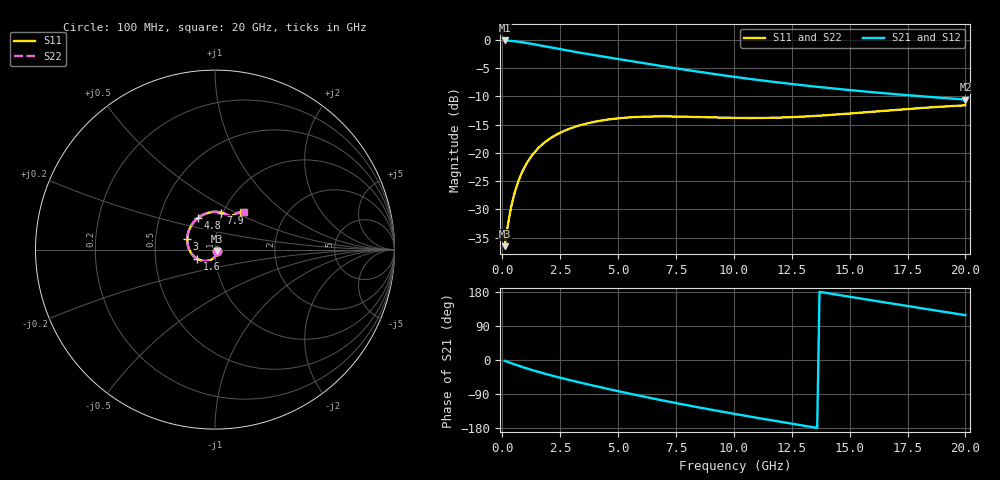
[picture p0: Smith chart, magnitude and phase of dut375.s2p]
! Touchstone file exported from HFSS 2024.1.0
!  File:  C:/UserFiles/LocalFiles/RDL_TSV_Batchsim/temp_RDL_TSV_375_1779643681.aedt
!  Generated:  01:41:42 AM May 25, 2026
!  Design:  RDL_TSV
!  Project:  temp_RDL_TSV_375_1779643681
!  Setup:  Setup1
!  Solution:  Sweep
! Variables:
!  dtsv = 14.25um
!  hbump = 3um
!  htsv = 97.42um
!  ldown = 347.39um
!  lrdl = 549.36um
!  p = 40
!  p1 = 42.95um
!  rhole = 10um
!  subl = 3239.61um
!  t = 450um
!  tdown = 4.84um
!  trdl = 3.37um
!  viad = 10um
!  wdown = 23.62um
!  wrdl = 25.66um
!  xbump = 18um
# GHz S MA R 50.000000
! Terminal data exported
! Port[1] = TM1_1_T1
! Port[2] = TM1_4_T1
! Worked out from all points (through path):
!   200 points, 100 MHz to 20 GHz, reference 50 ohm
!   highest |S21| = -0.12 dB at 100 MHz (marker M1); lowest = -10.6 dB at 20 GHz (marker M2)
!   group delay of S21, straight-line fit = 31.8 ps
!   lowest |S11| = -36.5 dB at 100 MHz (marker M3), VSWR 1.03, Z = 51.3 - j0.833 ohm
!   |S11| at or under -10 dB: start of sweep to end of sweep
!   |S22| runs from -36.5 to -11.6 dB; largest |S21 - S12| = 8.3e-15
!   S11 on the Smith chart (normalised r, x): 100 MHz: 1.03, -0.02; 1.6 GHz: 0.81, -0.08; 3 GHz: 0.73, +0.09; 4.8 GHz: 0.78, +0.29; 7.9 GHz: 0.98, +0.42; 20 GHz: 1.24, +0.56
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0.1  0.01498 -32.8  0.9862 -2.3  0.9862 -2.3  0.01498 -32.8
! Gamma 0 0 0 0
! Port Impedance 50 0 50 0
0.3  0.02716 -71.6  0.9803 -6.7  0.9803 -6.7  0.02716 -71.6
0.4  0.03446 -83.2  0.9762 -8.8  0.9762 -8.8  0.03446 -83.2
0.5  0.04189 -92.5  0.9716 -11.0  0.9716 -11.0  0.0419 -92.5
0.7  0.05659 -107.3  0.9606 -15.1  0.9606 -15.1  0.05661 -107.3
0.9  0.07064 -119.6  0.9476 -19.1  0.9476 -19.1  0.07067 -119.6
1.1  0.08382 -130.4  0.933 -23.0  0.933 -23.0  0.08386 -130.4
1.6  0.1126 -153.6  0.8935 -32.1  0.8935 -32.1  0.1126 -153.6
2.2  0.1397 -176.5  0.8466 -42.1  0.8466 -42.1  0.1398 -176.5
3  0.1663 158.5  0.7907 -54.3  0.7907 -54.3  0.1665 158.5
3.5  0.1787 145.4  0.7593 -61.5  0.7593 -61.5  0.1791 145.4
4.8  0.2 118.2  0.6862 -79.6  0.6862 -79.6  0.2005 118.2
5.8  0.2077 102.5  0.6357 -92.7  0.6357 -92.7  0.2083 102.5
6.8  0.2101 90.3  0.5893 -105.2  0.5893 -105.2  0.2108 90.3
7.9  0.2089 80.4  0.5434 -118.4  0.5434 -118.4  0.2097 80.4
9  0.2062 73.4  0.503 -130.9  0.503 -130.9  0.207 73.4
10.1  0.204 68.8  0.4677 -143.0  0.4677 -143.0  0.2048 68.8
11.7  0.2045 65.0  0.4247 -159.8  0.4247 -159.8  0.2054 65.0
13.4  0.2115 62.9  0.3877 -177.2  0.3877 -177.2  0.2123 62.8
16.7  0.2375 58.8  0.3341 150.2  0.3341 150.2  0.2382 58.7
18.3  0.2511 56.1  0.3142 134.7  0.3142 134.7  0.2518 56.0
20  0.2633 53.0  0.2961 118.3  0.2961 118.3  0.264 52.9
